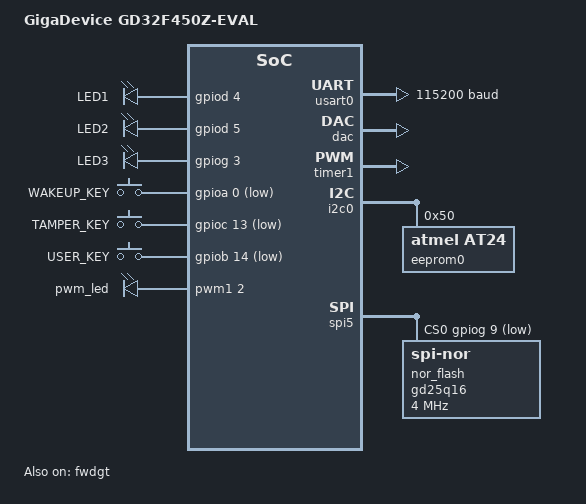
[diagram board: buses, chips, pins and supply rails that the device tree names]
/*
 * Copyright (c) 2022, Rtone.
 * SPDX-License-Identifier: Apache-2.0
 */

/dts-v1/;

#include <gd/gd32f4xx/gd32f450xk.dtsi>
#include "gd32f450z_eval-pinctrl.dtsi"
#include <zephyr/dt-bindings/input/input-event-codes.h>

/ {
	model = "GigaDevice GD32F450Z-EVAL";
	compatible = "gd,gd32f450z-eval";

	chosen {
		zephyr,sram = &sram0;
		zephyr,flash = &flash0;
		zephyr,console = &usart0;
		zephyr,shell-uart = &usart0;
		zephyr,flash-controller = &fmc;
	};

	leds {
		compatible = "gpio-leds";

		led1: led1 {
			gpios = <&gpiod 4 GPIO_ACTIVE_HIGH>;
			label = "LED1";
		};

		led2: led2 {
			gpios = <&gpiod 5 GPIO_ACTIVE_HIGH>;
			label = "LED2";
		};

		led3: led3 {
			gpios = <&gpiog 3 GPIO_ACTIVE_HIGH>;
			label = "LED3";
		};
	};

	gpio_keys {
		compatible = "gpio-keys";

		wakeup_key: wakeup_key {
			label = "WAKEUP_KEY";
			gpios = <&gpioa 0 GPIO_ACTIVE_LOW>;
			zephyr,code = <INPUT_KEY_WAKEUP>;
		};

		tamper_key: tamper_key {
			label = "TAMPER_KEY";
			gpios = <&gpioc 13 GPIO_ACTIVE_LOW>;
			zephyr,code = <INPUT_KEY_0>;
		};

		user_key: user_key {
			label = "USER_KEY";
			gpios = <&gpiob 14 GPIO_ACTIVE_LOW>;
			zephyr,code = <INPUT_KEY_1>;
		};
	};

	pwmleds {
		compatible = "pwm-leds";

		/* NOTE: bridge TIMER1_CH2 (PB10) and LED1 (PE2) */
		pwm_led: pwm_led {
			pwms = <&pwm1 2 PWM_MSEC(20) PWM_POLARITY_NORMAL>;
		};
	};

	aliases {
		led0 = &led1;
		led1 = &led2;
		sw0 = &user_key;
		pwm-led0 = &pwm_led;
		eeprom-0 = &eeprom0;
		watchdog0 = &fwdgt;
	};
};

&gpioa {
	status = "okay";
};

&gpiob {
	status = "okay";
};

&gpioc {
	status = "okay";
};

&gpiod {
	status = "okay";
};

&gpiog {
	status = "okay";
};

&usart0 {
	status = "okay";
	current-speed = <115200>;
	pinctrl-0 = <&usart0_default>;
	pinctrl-names = "default";
};

&dac {
	status = "okay";
	pinctrl-0 = <&dac_default>;
	pinctrl-names = "default";
};

&timer1 {
	status = "okay";

	pwm1: pwm {
		status = "okay";
		pinctrl-0 = <&pwm1_default>;
		pinctrl-names = "default";
	};
};

&i2c0 {
	status = "okay";
	pinctrl-0 = <&i2c0_default>;
	pinctrl-names = "default";

	eeprom0: eeprom@50 {
		compatible = "atmel,at24";
		reg = <0x50>;
		status = "okay";
		size = <256>;
		pagesize = <8>;
		address-width = <8>;
		timeout = <5>;
	};
};

&spi5 {
	status = "okay";
	pinctrl-0 = <&spi5_default>;
	pinctrl-names = "default";
	cs-gpios = <&gpiog 9 GPIO_ACTIVE_LOW>;

	nor_flash: gd25q16@0 {
		compatible = "jedec,spi-nor";
		size = <0x1000000>;
		reg = <0>;
		spi-max-frequency = <4000000>;
		status = "okay";
		jedec-id = [c8 40 15];
	};
};

&fwdgt {
	status = "okay";
};
